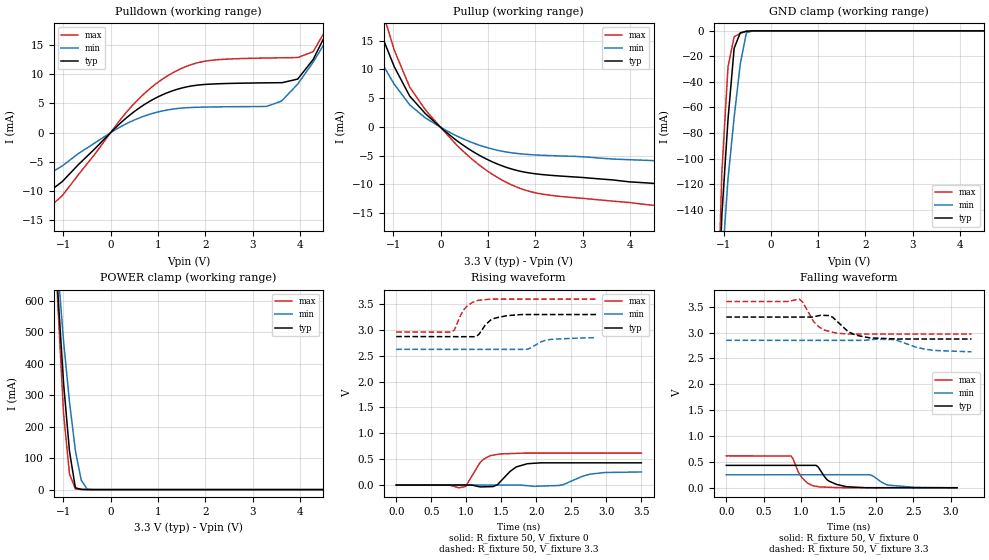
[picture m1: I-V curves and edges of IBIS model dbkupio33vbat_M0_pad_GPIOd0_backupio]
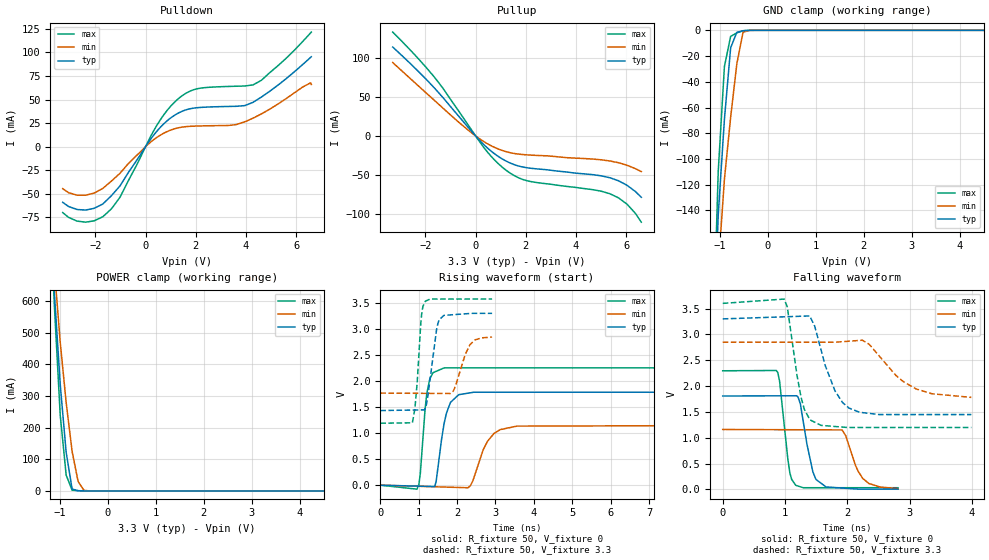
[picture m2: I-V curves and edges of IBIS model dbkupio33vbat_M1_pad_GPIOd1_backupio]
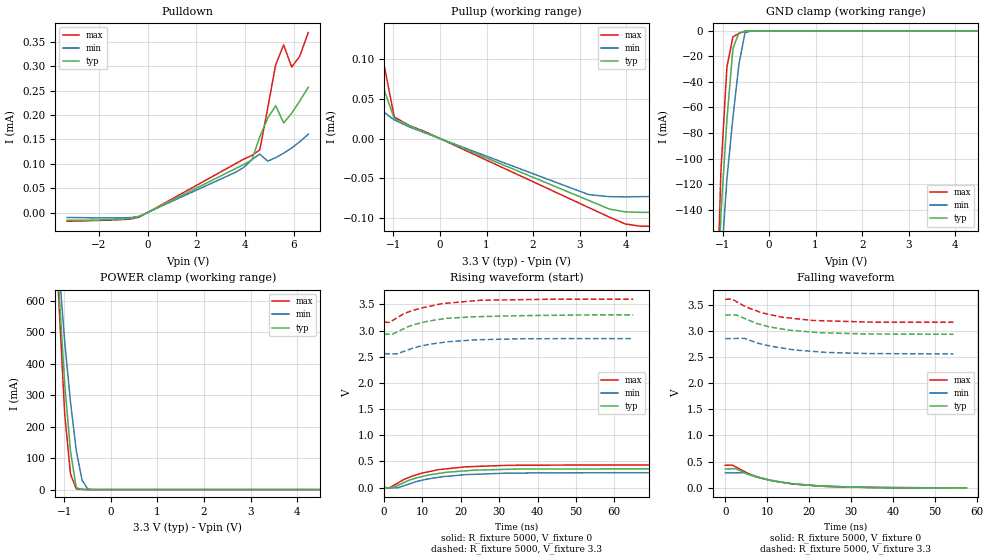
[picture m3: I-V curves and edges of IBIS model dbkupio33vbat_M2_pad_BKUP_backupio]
|   - MICROCHIP Technology -
|   IBIS model for SAME54_TQFP100
[IBIS Ver]   4.2
[Comment char]  |_char
[File Name]   samd5x_e5x_3t100.ibs
[File Rev]   1.0
[Date]   22-JAN-2019 08:51:16
[Source]   By GENIBIS V4.0 - GENerate chip IBIS model - 10-JUL-2017
[Notes]   Property of MICROCHIP Technology
[Disclaimer]
                  (C) Copyright MICROCHIP Technology - 2002-2017
MICROCHIP Technology makes no warranty for the use of its products, other than
those expressly contained in the Company's standard warranty which is detailed
in MICROCHIP's Terms and Conditions located on the Company's web site. The
Company assumes no responsability for any errors which may appear in this document.
The user is granted this license only to use the IBIS model and is not granted
rights to sell, load, rent, lease or license the IBIS model in whole or in part,
or in modified form to anyone other than user. User may modify the IBIS model
to suit its specific applications but rights to derivative works and such
modifications shall belong to MICROCHIP Technology.
This IBIS model is provided on an \"AS IS\" basis and MICROCHIP Technology makes
absolutely no warranty with respect to the information contained herein.
[Copyright]   Copyright (c) 2002-2019 by ATMEL Nantes SA
|   COMPONENT : SAME54_TQFP100
[Component]   SAME54_TQFP100
[Manufacturer]  MICROCHIP Technology
[Package]
| Package family : TQFP100
| RLC file   : 1.0
| variable   typ   min   max
R_pkg   73.62m   NA   NA
L_pkg   6.01n   NA   NA
C_pkg   1208.23f   NA   NA
[Pin]   signal_name   model_name   R_pin   L_pin   C_pin
|   Real model names   <--->   IBIS model names
|rfo_dbkupio33x25hm6_0t1flib_gpiosldvbat   dbkupio33vbat
|rfo_dio33x25hm6_0t1flib_gpiosld   dio33
|rfo_dtwio33x25hm6_0t1flib_gpiosldtwihs   dtwio33_twihs
|   rfo_cdm_dusb33x25hm6_0t1f   rfo_cdm_dusb33x25hm6_0t1f
| rfo_dio33x25hm6_0t1flib_input   dio33_input
   1   PA00   dbkupio33vbat   92.33m   7.34n  997.90f
   2   PA01   dbkupio33vbat   91.17m   7.07n   1.29p
   3   PC00   dbkupio33vbat   90.05m   6.84n   1.26p
   4   PC01   dbkupio33vbat   88.96m   6.60n   1.23p
   5   PC02   dio33   87.92m   6.50n   1.21p
   6   PC03   dio33   86.94m   6.28n   1.20p
   7   PA02   dio33   86.03m   6.07n   1.19p
   8   PA03   dio33   85.22m   5.94n   1.17p
   9   PB04   dio33   84.51m   5.79n   1.16p
   10   PB05   dio33   83.93m   5.65n   1.15p
   11   GNDANA   GND   43.49m   4.86n   1.52p
   12   VDDANA   POWER   53.20m   5.01n   1.35p
   13   PB06   dio33   83.08m   5.57n   1.14p
   14   PB07   dio33   83.20m   5.60n   1.15p
   15   PB08   dio33   83.49m   5.61n   1.16p
   16   PB09   dio33   83.93m   5.65n   1.16p
   17   PA04   dio33   84.51m   5.78n   1.16p
   18   PA05   dio33   85.22m   5.89n   1.17p
   19   PA06   dio33   86.03m   6.01n   1.18p
   20   PA07   dio33   86.94m   6.21n   1.18p
   21   PC05   dio33   87.92m   6.34n   1.20p
   22   PC06   dio33   88.96m   6.55n   1.24p
   23   PC07   dio33   90.05m   6.79n   1.27p
   24   GND_DB100_24A   GND   71.17m   6.55n   1.25p
   25   VDDIO   POWER   62.33m   6.70n   1.17p
   26   PA08   dtwio33_twihs   72.11m   7.01n  991.93f
   27   PA09   dtwio33_twihs   71.71m   6.77n   1.29p
   28   PA10   dio33   71.32m   6.56n   1.27p
   29   PA11   dio33   70.95m   6.34n   1.25p
   30   VDDIO   POWER   40.59m   5.60n   1.39p
   31   GND_DB100_31A   GND   50.25m   5.54n   1.16p
   32   PB10   dio33   69.94m   5.82n   1.18p
   33   PB11   dio33   69.66m   5.70n   1.17p
   34   PB12   dio33   69.42m   5.60n   1.16p
   35   PB13   dio33   69.22m   5.50n   1.16p
   36   PB14   dio33   69.06m   5.45n   1.16p
   37   PB15   dio33   68.96m   5.45n   1.16p
   38   GND_DB100_38A   GND   48.92m   4.95n   1.11p
   39   VDDIO   POWER   78.96m   5.49n   1.16p
   40   PC10   dio33   69.06m   5.47n   1.14p
   41   PC11   dio33   69.22m   5.56n   1.16p
   42   PC12   dio33   69.42m   5.63n   1.17p
   43   PC13   dio33   69.66m   5.71n   1.18p
   44   PC14   dio33   69.94m   5.84n   1.19p
   45   PC15   dio33   70.25m   5.99n   1.19p
   46   PA12   dtwio33_twihs   70.59m   6.12n   1.20p
   47   PA13   dtwio33_twihs   70.95m   6.33n   1.23p
   48   PA14   dio33   71.32m   6.53n   1.26p
   49   PA15   dio33   71.71m   6.71n   1.28p
   50   GND_DB100_50A   GND   52.11m   6.46n   1.38p
   51   VDDIO   POWER   62.33m   6.74n   1.19p
   52   PA16   dtwio33_twihs   91.17m   7.06n   1.28p
   53   PA17   dtwio33_twihs   90.05m   6.85n   1.26p
   54   PA18   dio33   88.96m   6.60n   1.24p
   55   PA19   dio33   87.92m   6.39n   1.22p
   56   PC16   dio33   86.94m   6.20n   1.19p
   57   PC17   dio33   86.03m   6.01n   1.18p
   58   PC18   dio33   85.22m   5.88n   1.17p
   59   PC19   dio33   84.51m   5.78n   1.16p
   60   PC20   dio33   83.93m   5.66n   1.16p
   61   PC21   dio33   53.49m   5.04n   1.29p
   62   GND_DB100_62A   GND   63.20m   5.15n   1.11p
   63   VDDIO   POWER   53.08m   4.96n   1.31p
   64   PB16   dio33   83.20m   5.58n   1.14p
   65   PB17   dio33   83.49m   5.61n   1.15p
   66   PB18   dio33   83.93m   5.64n   1.16p
   67   PB19   dio33   84.51m   5.79n   1.16p
   68   PB20   dio33   85.22m   5.92n   1.17p
   69   PB21   dio33   86.03m   6.05n   1.18p
   70   PA20   dio33   86.94m   6.26n   1.20p
   71   PA21   dio33   87.92m   6.48n   1.22p
   72   PA22   dtwio33_twihs   88.96m   6.62n   1.23p
   73   PA23   dtwio33_twihs   90.05m   6.85n   1.26p
   74   PA24  rfo_cdm_dusb33x25hm6_0t1f_dm   91.17m   7.08n   1.28p
   75   PA25  rfo_cdm_dusb33x25hm6_0t1f_dp   92.33m   7.28n  991.46f
   76   GND_DB100_76A   GND   52.11m   6.47n   1.29p
   77   VDDIO   POWER   41.71m   6.20n   1.47p
   78   PB22   dio33   71.32m   6.53n   1.27p
   79   PB23   dio33   70.95m   6.33n   1.24p
   80   PB24   dio33   70.59m   6.12n   1.22p
   81   PB25   dio33   70.25m   5.99n   1.19p
   82   PC24   dio33   69.94m   5.82n   1.18p
   83   PC25   dio33   69.66m   5.71n   1.17p
   84   PC26   dio33   69.42m   5.60n   1.17p
   85   PC27   dio33   69.22m   5.48n   1.16p
   86   PC28   dio33   69.06m   5.44n   1.15p
   87   PA27   dio33   68.96m   5.42n   1.15p
   88   RESET_N   dio33_input   68.92m   5.37n   1.14p
   89   VDDCORE   POWER   28.96m   4.61n   1.48p
   90   GND_DB100_90A   GND   49.06m   4.98n   1.12p
   91   VSW   NC   39.22m   4.91n   1.35p
   92   VDDIO   POWER   29.42m   4.83n   1.52p
   93   PA30   dio33   69.66m   5.71n   1.18p
   94   PA31   dio33   69.94m   5.82n   1.18p
   95   PB30   dio33   70.25m   6.01n   1.19p
   96   PB31   dio33   70.59m   6.19n   1.21p
   97   PB00   dbkupio33vbat   70.95m   6.33n   1.23p
   98   PB01   dbkupio33vbat   71.32m   6.53n   1.25p
   99   PB02   dbkupio33vbat   71.71m   6.71n   1.27p
   100   PB03   dbkupio33vbat   72.11m   7.09n  992.19f
[Diff pin] inv_pin   vdiff   tdelay_typ   tdelay_min   tdelay_max
   75   74   0.1500V   0.0s   NA   NA
|   MODEL SELECTOR : dtwio33_twihs
[Model Selector]   dtwio33_twihs
dtwio33_twihs_M4_pad_TWIfastplus   fastplus twi mode
dtwio33_twihs_M3_pad_TWIhighspeed   highspeed twi mode
dtwio33_twihs_M2_pad_TWIfast   fast twi mode
dtwio33_twihs_M1_pad_TWIoffd1_rfo_dtwi   TWI off Drive 1
dtwio33_twihs_M0_pad_TWIoffd0_rfo_dtwi   TWI off Drive 0
|   MODEL SELECTOR : dio33
[Model Selector]   dio33
dio33_M1_pad_d1_rfo_dio3   Drive 1
dio33_M0_pad_d0_rfo_dio3   Drive 0
|   MODEL SELECTOR : dbkupio33vbat
[Model Selector]   dbkupio33vbat
dbkupio33vbat_M2_pad_BKUP_backupio   BKUP
dbkupio33vbat_M1_pad_GPIOd1_backupio   GPIO Drive 1
dbkupio33vbat_M0_pad_GPIOd0_backupio   GPIO Drive 0
| Models and submodels in the file (13): dbkupio33vbat_M0_pad_GPIOd0_backupio (I/O), dbkupio33vbat_M1_pad_GPIOd1_backupio (I/O), dbkupio33vbat_M2_pad_BKUP_backupio (I/O), dio33_M0_pad_d0_rfo_dio3 (I/O), dio33_M1_pad_d1_rfo_dio3 (I/O), dtwio33_twihs_M0_pad_TWIoffd0_rfo_dtwi (I/O), dtwio33_twihs_M1_pad_TWIoffd1_rfo_dtwi (I/O), dtwio33_twihs_M2_pad_TWIfast (I/O_open_sink), dtwio33_twihs_M3_pad_TWIhighspeed (I/O_open_sink), dtwio33_twihs_M4_pad_TWIfastplus (I/O_open_sink), rfo_cdm_dusb33x25hm6_0t1f_dm (I/O), rfo_cdm_dusb33x25hm6_0t1f_dp (I/O), dio33_input (Input)
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|   MODEL : dbkupio33vbat_M0_pad_GPIOd0_backupio
[Model] dbkupio33vbat_M0_pad_GPIOd0_backupio
Model_type I/O
Vinl  =  0.99
Vinh  =  2.31
Vmeas =  1.650
| Capacitance   typ   min   max
C_comp   1.74948247965e-12   1.71640549613e-12   1.79142079969e-12
[Model Spec]
| Subparameter   typ   min   max
Vinl   0.99   0.855   1.08
Vinh   2.31   1.995   2.52
Vmeas   1.65   1.425   1.8
| Variables   typ   min   max
[GND Clamp Reference]   0   0   0
[POWER Clamp Reference]   3.3   2.85   3.6
[Pulldown Reference]   0   0   0
[Pullup Reference]   3.3   2.85   3.6
[Temperature Range]   25   125   -40
[Voltage Range]   3.3   2.85   3.6
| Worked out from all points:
|   slope of the pulldown table from 0 to 0.495 V, typ, clamps not added: 138 ohm
|   slope of the pullup table from 0 to 0.495 V, typ, clamps not added: 154 ohm
|   GND clamp passes 1 mA (typ) near -0.59 V on its own axis
|   POWER clamp passes 1 mA (typ) near -0.63 V on its own axis
|   falling waveform, R_fixture 50, V_fixture 0: 20-80 % time 184ps typ, 193ps min, 151ps max; typ from 0.435 V to 0.004 V
|   falling waveform, R_fixture 50, V_fixture 3.3: 20-80 % time 234ps typ, 322ps min, 189ps max; typ from 3.3 V to 2.88 V
|   rising waveform, R_fixture 50, V_fixture 0: 20-80 % time 206ps typ, 287ps min, 183ps max; typ from 0 V to 0.43 V
|   rising waveform, R_fixture 50, V_fixture 3.3: 20-80 % time 181ps typ, 207ps min, 158ps max; typ from 2.87 V to 3.3 V
[GND Clamp]
| Voltage   I(typ)   I(min)   I(max)
-3.3V     -4.156A    -3.106A    -5.706A
-1.164V   -273.9mA   -290.2mA   -270mA
-1.034V   -143.6mA   -185.4mA   -109.8mA
-905.2mV  -69.16mA   -115.7mA   -28.08mA
-775.9mV  -13.66mA   -67.73mA   -4.724mA
-646.6mV  -1.546mA   -26.01mA   -1.985mA
-517.2mV  -312.6uA   -1.523mA   -359.1uA
-387.9mV  -11.95uA   -60.65uA   -6.422uA
6.6V      0A         0A         0A
[POWER Clamp]
| Voltage   I(typ)   I(min)   I(max)
-3.3V     7.922A     6.318A     10.18A
-1.241V   983.3mA    977.5mA    1.046A
-1.117V   631.7mA    707.1mA    592.8mA
-993.1mV  336.8mA    470.1mA    239.8mA
-869mV    121.9mA    278.9mA    49.96mA
-744.8mV  5.891mA    124.5mA    2.333mA
-620.7mV  642.4uA    30.16mA    759.7uA
-496.6mV  101.1uA    1.608mA    160.3uA
6.6V      0A         0A         0A
[Pulldown]
| Voltage   I(typ)   I(min)   I(max)
-3.3V     -11.83mA   -8.945mA   -14mA
-2.386V   -13.49mA   -10.36mA   -16.06mA
-1.364V   -10.46mA   -7.364mA   -13.26mA
-1.023V   -8.378mA   -5.695mA   -10.8mA
567.2mV   4.012mA    2.394mA    5.555mA
1.598V    7.823mA    4.267mA    11.34mA
3.6V      8.559mA    5.369mA    12.82mA
3.955V    9.175mA    8.311mA    12.86mA
4.282V    12.52mA    12.07mA    13.87mA
4.609V    17.85mA    16.42mA    18.44mA
4.936V    23.71mA    21.26mA    26.13mA
6.6V      58.1mA     46.08mA    66.01mA
[Pullup]
| Voltage   I(typ)   I(min)   I(max)
-3.3V     61.64mA    48.34mA    74.69mA
-1.636V   24.14mA    17.16mA    30.5mA
-1.309V   17.16mA    11.99mA    22.23mA
-981.8mV  10.46mA    7.407mA    13.34mA
-654.5mV  5.344mA    3.825mA    6.905mA
-327.3mV  2.339mA    1.582mA    3.009mA
618.8mV   -3.963mA   -2.575mA   -5.297mA
1.547V    -7.424mA   -4.549mA   -10.24mA
2.217V    -8.332mA   -4.95mA    -11.76mA
5.345V    -10.65mA   -6.396mA   -14.74mA
6.027V    -12.51mA   -7.473mA   -17.27mA
6.6V      -15.71mA   -9.115mA   -21.66mA
[Ramp]
dV/dt_r   0.263353/0.212777n  0.152805/0.289102n  0.373034/0.184669n
dV/dt_f   0.256798/0.237744n  0.135298/0.335286n  0.384287/0.198514n
R_load = 50
[Falling Waveform]
R_fixture = 50
V_fixture = 0
V_fixture_min = 0
V_fixture_max = 0
| Time   V(typ)   V(min)   V(max)
0s        435mV      252.7mV    619mV
863.3ps   435.1mV    253.5mV    616.3mV
1.011ns   435.1mV    253.7mV    195.9mV
1.199ns   435.1mV    253.9mV    30.56mV
1.244ns   367.6mV    253.9mV    18.79mV
1.37ns    131.7mV    254mV      12.02mV
1.608ns   22.44mV    254.3mV    2.298mV
1.914ns   3.887mV    254.6mV    2.296mV
2.169ns   3.885mV    52.33mV    2.294mV
3.082ns   3.875mV    660.4uV    2.288mV
[Falling Waveform]
R_fixture = 50
V_fixture = 3.3
V_fixture_min = 2.85
V_fixture_max = 3.6
| Time   V(typ)   V(min)   V(max)
0s        3.3V       2.85V      3.6V
975.6ps   3.3V       2.85V      3.646V
1.238ns   3.327V     2.85V      3.109V
1.38ns    3.328V     2.85V      3.023V
1.469ns   3.232V     2.85V      2.989V
1.625ns   3.021V     2.85V      2.972V
1.919ns   2.897V     2.86V      2.971V
2.224ns   2.88V      2.865V     2.971V
2.786ns   2.876V     2.654V     2.971V
3.276ns   2.876V     2.628V     2.971V
[Rising Waveform]
R_fixture = 50
V_fixture = 0
V_fixture_min = 0
V_fixture_max = 0
| Time   V(typ)   V(min)   V(max)
0s        25.74nV    51.33nV    60.99nV
992ps     161.4uV    222.8uV    -27.95mV
1.245ns   -34.22mV   279.6uV    498.3mV
1.384ns   -29.33mV   310.9uV    578.7mV
1.486ns   64.67mV    333.7uV    601.6mV
1.714ns   350.9mV    385uV      612.5mV
1.872ns   412.7mV    -12.35mV   617.9mV
2.328ns   429.8mV    -8.182mV   617.9mV
2.764ns   429.8mV    210.2mV    617.9mV
3.5ns     429.8mV    253.2mV    617.9mV
[Rising Waveform]
R_fixture = 50
V_fixture = 3.3
V_fixture_min = 2.85
V_fixture_max = 3.6
| Time   V(typ)   V(min)   V(max)
0s        2.872V     2.624V     2.96V
785.5ps   2.87V      2.624V     2.957V
830.5ps   2.87V      2.624V     2.998V
961.3ps   2.869V     2.624V     3.385V
1.167ns   2.901V     2.624V     3.571V
1.349ns   3.193V     2.624V     3.595V
1.579ns   3.276V     2.624V     3.595V
1.887ns   3.298V     2.633V     3.595V
2.224ns   3.298V     2.821V     3.595V
2.856ns   3.298V     2.85V      3.595V
|   MODEL : dbkupio33vbat_M1_pad_GPIOd1_backupio
[Model] dbkupio33vbat_M1_pad_GPIOd1_backupio
Model_type I/O
Vinl  =  0.99
Vinh  =  2.31
Vmeas =  1.650
| Capacitance   typ   min   max
C_comp   1.74948247965e-12   1.71640549613e-12   1.79142079969e-12
[Model Spec]
| Subparameter   typ   min   max
Vinl   0.99   0.855   1.08
Vinh   2.31   1.995   2.52
Vmeas   1.65   1.425   1.8
| Variables   typ   min   max
[GND Clamp Reference]   0   0   0
[POWER Clamp Reference]   3.3   2.85   3.6
[Pulldown Reference]   0   0   0
[Pullup Reference]   3.3   2.85   3.6
[Temperature Range]   25   125   -40
[Voltage Range]   3.3   2.85   3.6
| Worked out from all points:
|   slope of the pulldown table from 0 to 0.495 V, typ, clamps not added: 27.8 ohm
|   slope of the pullup table from 0 to 0.495 V, typ, clamps not added: 30.8 ohm
|   GND clamp passes 1 mA (typ) near -0.59 V on its own axis
|   POWER clamp passes 1 mA (typ) near -0.63 V on its own axis
|   falling waveform, R_fixture 50, V_fixture 0: 20-80 % time 168ps typ, 226ps min, 123ps max; typ from 1.81 V to 0.005 V
|   falling waveform, R_fixture 50, V_fixture 3.3: 20-80 % time 321ps typ, 557ps min, 196ps max; typ from 3.3 V to 1.45 V
|   rising waveform, R_fixture 50, V_fixture 0: 20-80 % time 240ps typ, 405ps min, 158ps max; typ from 0 V to 1.78 V
|   rising waveform, R_fixture 50, V_fixture 3.3: 20-80 % time 199ps typ, 298ps min, 129ps max; typ from 1.43 V to 3.3 V
[GND Clamp]
| Voltage   I(typ)   I(min)   I(max)
-3.3V     -4.156A    -3.106A    -5.706A
-1.164V   -273.9mA   -290.2mA   -270mA
-1.034V   -143.6mA   -185.4mA   -109.8mA
-905.2mV  -69.16mA   -115.7mA   -28.08mA
-775.9mV  -13.66mA   -67.73mA   -4.724mA
-646.6mV  -1.546mA   -26.01mA   -1.985mA
-517.2mV  -312.6uA   -1.523mA   -359.1uA
-387.9mV  -11.95uA   -60.65uA   -6.422uA
6.6V      0A         0A         0A
[POWER Clamp]
| Voltage   I(typ)   I(min)   I(max)
-3.3V     7.922A     6.318A     10.18A
-1.241V   983.3mA    977.5mA    1.046A
-1.117V   631.7mA    707.1mA    592.8mA
-993.1mV  336.8mA    470.1mA    239.8mA
-869mV    121.9mA    278.9mA    49.96mA
-744.8mV  5.891mA    124.5mA    2.333mA
-620.7mV  642.4uA    30.16mA    759.7uA
-496.6mV  101.1uA    1.608mA    160.3uA
6.6V      0A         0A         0A
[Pulldown]
| Voltage   I(typ)   I(min)   I(max)
-3.3V     -58.97mA   -44.47mA   -69.85mA
-2.727V   -66.6mA    -51.42mA   -78.88mA
-2.386V   -67.17mA   -51.42mA   -80.03mA
-1.705V   -60.78mA   -44.21mA   -74.27mA
-1.023V   -41.68mA   -28.26mA   -53.78mA
412.5mV   15.24mA    9.17mA     21.02mA
1.238V    34.66mA    19.6mA     49.32mA
2.062V    41.36mA    21.92mA    61.45mA
3.6V      42.83mA    23.43mA    64.11mA
4.282V    47.09mA    30.28mA    65.56mA
5.591V    71.99mA    50.9mA     93.56mA
6.6V      95.37mA    65.97mA    121.5mA
[Pullup]
| Voltage   I(typ)   I(min)   I(max)
-3.3V     113.5mA    93.65mA    132.6mA
-1.636V   61.06mA    45.22mA    74.88mA
-300mV    11.01mA    7.462mA    14.15mA
464.1mV   -15.25mA   -9.952mA   -20.33mA
1.186V    -31.72mA   -19.92mA   -43.19mA
1.65V     -37.95mA   -23.06mA   -52.62mA
2.114V    -41.03mA   -24.43mA   -57.83mA
4.664V    -49.56mA   -29.64mA   -68.73mA
5.345V    -53.49mA   -32.07mA   -73.94mA
6.027V    -63.09mA   -37.5mA    -87.15mA
6.368V    -71.23mA   -41.97mA   -99.14mA
6.6V      -78.5mA    -45.67mA   -110.3mA
[Ramp]
dV/dt_r   1.07587/0.243559n  0.689787/0.401422n  1.3622/0.161436n
dV/dt_f   1.12007/0.327557n  0.648936/0.5699n  1.44578/0.196951n
R_load = 50
[Falling Waveform]
R_fixture = 50
V_fixture = 0
V_fixture_min = 0
V_fixture_max = 0
| Time   V(typ)   V(min)   V(max)
0s        1.808V     1.16V      2.296V
884ps     1.811V     1.156V     2.262V
1.078ns   1.812V     1.155V     317.2mV
1.172ns   1.813V     1.155V     80.18mV
1.246ns   1.66V      1.155V     51.11mV
1.352ns   876.8mV    1.154V     32.86mV
1.498ns   191.3mV    1.153V     32.84mV
1.915ns   26.91mV    1.152V     32.81mV
2.247ns   4.993mV    213mV      32.77mV
2.814ns   4.985mV    15.52mV    32.72mV
[Falling Waveform]
R_fixture = 50
V_fixture = 3.3
V_fixture_min = 2.85
V_fixture_max = 3.6
| Time   V(typ)   V(min)   V(max)
0s        3.3V       2.85V      3.6V
985.8ps   3.34V      2.85V      3.684V
1.037ns   3.342V     2.85V      3.533V
1.258ns   3.351V     2.85V      1.78V
1.4ns     3.349V     2.85V      1.346V
1.804ns   1.902V     2.849V     1.218V
2.026ns   1.575V     2.868V     1.199V
2.35ns    1.471V     2.81V      1.199V
3.103ns   1.449V     1.945V     1.199V
3.99ns    1.449V     1.781V     1.199V
[Rising Waveform]
R_fixture = 50
V_fixture = 0
V_fixture_min = 0
V_fixture_max = 0
| Time   V(typ)   V(min)   V(max)
0s        13.65nV    29.21nV    27.17nV
955.6ps   -17.75mV   -20.47mV   -76.35mV
1.289ns   -23.95mV   -27.61mV   2.039V
1.456ns   72.51mV    -31.18mV   2.186V
1.663ns   1.186V     -35.63mV   2.252V
2.043ns   1.738V     -43.76mV   2.252V
2.347ns   1.774V     -10.95mV   2.252V
2.962ns   1.785V     993.1mV    2.252V
3.562ns   1.785V     1.134V     2.252V
13.56ns   1.785V     1.154V     2.252V
[Rising Waveform]
R_fixture = 50
V_fixture = 3.3
V_fixture_min = 2.85
V_fixture_max = 3.6
| Time   V(typ)   V(min)   V(max)
0s        1.433V     1.768V     1.19V
835.8ps   1.443V     1.765V     1.197V
962.2ps   1.444V     1.764V     1.98V
1.079ns   1.446V     1.764V     3.295V
1.173ns   1.481V     1.764V     3.532V
1.468ns   2.996V     1.762V     3.574V
1.54ns    3.181V     1.762V     3.574V
1.904ns   3.274V     1.808V     3.574V
2.337ns   3.298V     2.7V       3.574V
2.913ns   3.299V     2.844V     3.574V
|   MODEL : dbkupio33vbat_M2_pad_BKUP_backupio
[Model] dbkupio33vbat_M2_pad_BKUP_backupio
Model_type I/O
Vinl  =  0.99
Vinh  =  2.31
Vmeas =  1.650
| Capacitance   typ   min   max
C_comp   1.7788615225e-12   1.75145125908e-12   1.81520932163e-12
[Model Spec]
| Subparameter   typ   min   max
Vinl   0.99   0.855   1.08
Vinh   2.31   1.995   2.52
Vmeas   1.65   1.425   1.8
| Variables   typ   min   max
[GND Clamp Reference]   0   0   0
[POWER Clamp Reference]   3.3   2.85   3.6
[Pulldown Reference]   0   0   0
[Pullup Reference]   3.3   2.85   3.6
[Temperature Range]   25   125   -40
[Voltage Range]   3.3   2.85   3.6
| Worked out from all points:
|   slope of the pulldown table from 0 to 0.495 V, typ, clamps not added: 40 kohm
|   slope of the pullup table from 0 to 0.495 V, typ, clamps not added: 40.8 kohm
|   GND clamp passes 1 mA (typ) near -0.59 V on its own axis
|   POWER clamp passes 1 mA (typ) near -0.63 V on its own axis
|   falling waveform, R_fixture 5000, V_fixture 0: 20-80 % time 12.6ns typ, 12.2ns min, 11.2ns max; typ from 0.36 V to 0 V
|   falling waveform, R_fixture 5000, V_fixture 3.3: 20-80 % time 11.2ns typ, 12.6ns min, 11ns max; typ from 3.3 V to 2.93 V
|   rising waveform, R_fixture 5000, V_fixture 0: 20-80 % time 11.4ns typ, 12.2ns min, 11.1ns max; typ from 0 V to 0.361 V
|   rising waveform, R_fixture 5000, V_fixture 3.3: 20-80 % time 11.3ns typ, 11.5ns min, 11.4ns max; typ from 2.93 V to 3.3 V
[GND Clamp]
| Voltage   I(typ)   I(min)   I(max)
-3.3V     -4.156A    -3.106A    -5.706A
-1.164V   -273.9mA   -290.2mA   -270mA
-1.034V   -143.6mA   -185.4mA   -109.8mA
-905.2mV  -69.16mA   -115.7mA   -28.08mA
-775.9mV  -13.66mA   -67.73mA   -4.724mA
-646.6mV  -1.546mA   -26.01mA   -1.985mA
-517.2mV  -312.6uA   -1.523mA   -359.1uA
-387.9mV  -11.95uA   -60.65uA   -6.422uA
6.6V      0A         0A         0A
[POWER Clamp]
| Voltage   I(typ)   I(min)   I(max)
-3.3V     7.922A     6.318A     10.18A
-1.241V   983.3mA    977.5mA    1.046A
-1.117V   631.7mA    707.1mA    592.8mA
-993.1mV  336.8mA    470.1mA    239.8mA
-869mV    121.9mA    278.9mA    49.96mA
-744.8mV  5.891mA    124.5mA    2.333mA
-620.7mV  642.4uA    30.16mA    759.7uA
-496.6mV  101.1uA    1.608mA    160.3uA
6.6V      0A         0A         0A
[Pulldown]
| Voltage   I(typ)   I(min)   I(max)
-3.3V     -15.97uA   -10.09uA   -17.97uA
-1.023V   -13.46uA   -10.89uA   -14.38uA
-340.9mV  -8.453uA   -7.62uA    -9.402uA
3.627V    90.6uA     82.89uA    100.6uA
4.282V    107.8uA    108.3uA    117.1uA
4.609V    155.4uA    119.9uA    128.4uA
4.936V    194.2uA    105.4uA    214.5uA
5.264V    219.1uA    112.6uA    303.6uA
5.591V    183.8uA    121.9uA    343.9uA
5.918V    203.7uA    132.4uA    298.6uA
6.245V    228.4uA    145uA      320.1uA
6.6V      257uA      161uA      369.3uA
[Pullup]
| Voltage   I(typ)   I(min)   I(max)
-3.3V     252.1uA    96.49uA    471.5uA
-2.291V   131.1uA    49.79uA    275.1uA
-1.964V   157.2uA    48.6uA     294uA
-1.636V   125.2uA    51.92uA    233.3uA
-1.309V   79.75uA    37.76uA    125.2uA
-981.8mV  25.16uA    23.62uA    27.36uA
3.197V    -78.29uA   -70.76uA   -87.27uA
3.982V    -92.72uA   -73.66uA   -108uA
5.005V    -92.98uA   -73.79uA   -110.2uA
5.686V    -90.6uA    -86.45uA   -106.8uA
6.027V    -88.21uA   -70.9uA    -103.8uA
6.6V      -82.44uA   -69.62uA   -96.61uA
[Ramp]
dV/dt_r   0.215967/11.4052n  0.170867/12.1647n  0.259363/11.0026n
dV/dt_f   0.219846/11.1212n  0.175414/12.5752n  0.263021/11.0853n
R_load = 5000
[Falling Waveform]
R_fixture = 5000
V_fixture = 0
V_fixture_min = 0
V_fixture_max = 0
| Time   V(typ)   V(min)   V(max)
0s        360mV      284.9mV    432.4mV
1.648ns   363.8mV    286.4mV    435.1mV
2.472ns   365.7mV    287.2mV    400.4mV
4.497ns   294.2mV    289.1mV    315.3mV
7.658ns   203.2mV    203.2mV    208.6mV
10.96ns   145.4mV    139.4mV    138.3mV
16.17ns   79.27mV    75.37mV    71.47mV
22.29ns   35.03mV    36.49mV    36mV
33.86ns   6.705mV    9.552mV    8.605mV
57.5ns    -481.5uV   961.2uV    -186.3uV
[Falling Waveform]
R_fixture = 5000
V_fixture = 3.3
V_fixture_min = 2.85
V_fixture_max = 3.6
| Time   V(typ)   V(min)   V(max)
0s        3.3V       2.85V      3.6V
1.581ns   3.301V     2.852V     3.605V
2.483ns   3.307V     2.853V     3.567V
4.516ns   3.239V     2.856V     3.475V
8.7ns     3.114V     2.744V     3.345V
13.47ns   3.035V     2.672V     3.26V
15.15ns   3.013V     2.651V     3.246V
20.92ns   2.974V     2.607V     3.197V
34.41ns   2.939V     2.565V     3.166V
54.41ns   2.933V     2.557V     3.163V
[Rising Waveform]
R_fixture = 5000
V_fixture = 0
V_fixture_min = 0
V_fixture_max = 0
| Time   V(typ)   V(min)   V(max)
0s        4.285uV    6.689uV    9.47uV
1.384ns   -3.128mV   -1.428mV   -4.896mV
2.131ns   -4.819mV   -2.202mV   26.91mV
3.56ns    42.72mV    -3.683mV   87.73mV
6.947ns   151.3mV    78.78mV    210.3mV
9.782ns   209.6mV    139.7mV    276.3mV
14.22ns   270.1mV    197.1mV    343.4mV
21.18ns   320.3mV    247.2mV    396.9mV
34.78ns   354.7mV    277.4mV    426.4mV
94.78ns   360.5mV    284.9mV    432.8mV
[Rising Waveform]
R_fixture = 5000
V_fixture = 3.3
V_fixture_min = 2.85
V_fixture_max = 3.6
| Time   V(typ)   V(min)   V(max)
0s        2.934V     2.558V     3.162V
1.356ns   2.932V     2.557V     3.157V
2.112ns   2.931V     2.557V     3.191V
3.367ns   2.975V     2.556V     3.246V
5.039ns   3.034V     2.601V     3.32V
8.11ns    3.121V     2.678V     3.398V
14.96ns   3.221V     2.771V     3.514V
24.96ns   3.268V     2.827V     3.58V
35.09ns   3.285V     2.845V     3.591V
64.96ns   3.301V     2.848V     3.6V
